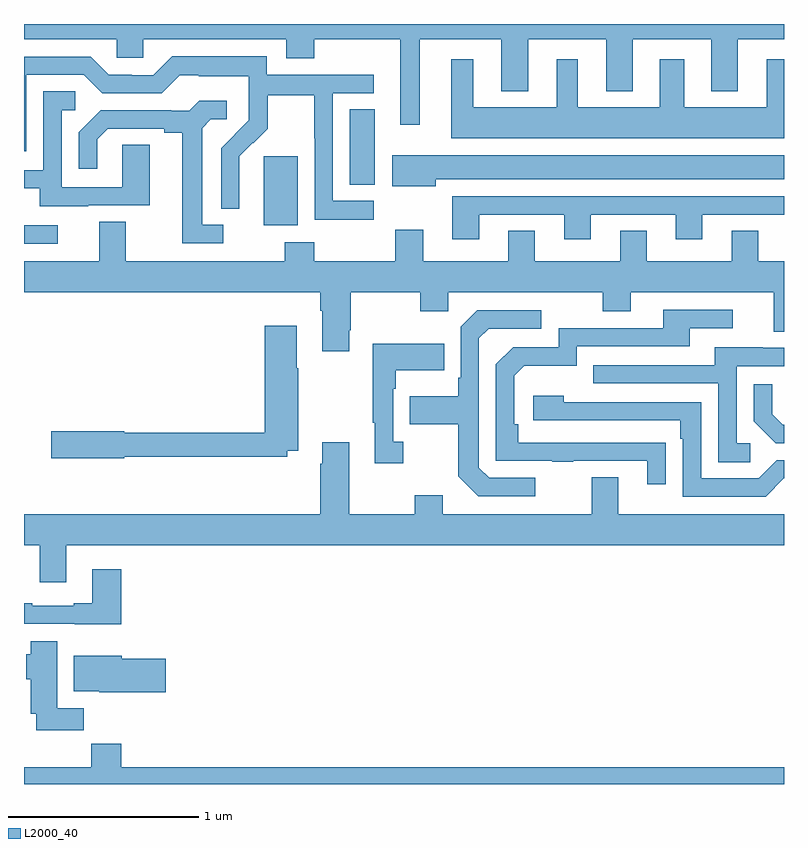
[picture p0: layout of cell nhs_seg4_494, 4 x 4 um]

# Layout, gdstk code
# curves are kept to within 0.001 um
import gdstk
lib = gdstk.Library(unit=1e-6, precision=1e-09)
def R(c, l, rs):  # rectangles x0, y0, x1, y1
    for r in rs: c.add(gdstk.rectangle(r[:2], r[2:], *l))
def P(c, l, *ps):  # polygons
    for p in ps: c.add(gdstk.Polygon(p, *l))
L2000_40 = (2000, 40)

nhs_seg4_494 = lib.new_cell('nhs_seg4_494')
R(nhs_seg4_494, L2000_40, [(135,795.744,135.178,795.84), (136.262,795.842,136.441,796.203), (136.715,796.054,136.846,796.451)])
P(nhs_seg4_494, L2000_40, [(137.083,796.82),(137.513,796.82),(137.513,796.547),(137.653,796.547),(137.653,796.82),(138.065,796.82),(138.065,796.547),(138.205,796.547),(138.205,796.82),(138.617,796.82),(138.617,796.547),(138.757,796.547),(138.757,796.82),(139,796.82),(139,796.9),(135,796.9),(135,796.82),(135.489,796.82),(135.489,796.722),(135.627,796.722),(135.627,796.82),(136.379,796.82),(136.379,796.721),(136.527,796.721),(136.527,796.82),(136.979,796.82),(136.979,796.371),(137.083,796.371)],
  [(136.84,795.969),(136.626,795.969),(136.626,796.536),(136.84,796.536),(136.84,796.632),(136.278,796.632),(136.278,796.729),(135.781,796.729),(135.681,796.629),(135.566,796.629),(135.566,796.632),(135.447,796.632),(135.351,796.728),(135,796.728),(135,796.23),(135.012,796.23),(135.012,796.632),(135.315,796.632),(135.411,796.536),(135.726,796.536),(135.819,796.629),(135.919,796.629),(135.919,796.625),(136.182,796.625),(136.182,796.491),(136.184,796.491),(136.184,796.394),(136.038,796.246),(136.038,795.928),(136.134,795.928),(136.133,796.205),(136.203,796.275),(136.206,796.272),(136.283,796.349),(136.283,796.524),(136.528,796.524),(136.528,796.3),(136.53,796.3),(136.53,795.871),(136.84,795.871)],
  [(139,796.714),(138.908,796.714),(138.908,796.462),(138.475,796.462),(138.475,796.714),(138.347,796.714),(138.347,796.462),(137.914,796.462),(137.914,796.714),(137.804,796.714),(137.804,796.462),(137.365,796.462),(137.365,796.714),(137.249,796.714),(137.249,796.298),(139,796.298)],
  [(135.337,795.945),(135.661,795.945),(135.661,796.265),(135.516,796.265),(135.516,796.041),(135.198,796.041),(135.198,796.446),(135.271,796.446),(135.271,796.547),(135.102,796.547),(135.102,796.131),(135,796.131),(135,796.035),(135.083,796.035),(135.083,795.941),(135.337,795.941)],
  [(136.048,795.843),(135.937,795.843),(135.937,796.351),(135.984,796.398),(136.066,796.398),(136.066,796.495),(135.922,796.495),(135.87,796.443),(135.776,796.443),(135.776,796.446),(135.404,796.446),(135.288,796.33),(135.288,796.137),(135.385,796.137),(135.385,796.293),(135.442,796.35),(135.737,796.35),(135.737,796.328),(135.833,796.328),(135.833,795.747),(136.048,795.747)],
  [(137.167,796.082),(139,796.082),(139,796.21),(136.938,796.21),(136.938,796.046),(137.167,796.046)],
  [(137.395,795.897),(137.843,795.897),(137.843,795.768),(137.983,795.768),(137.983,795.897),(138.431,795.897),(138.431,795.768),(138.571,795.768),(138.571,795.897),(139,795.897),(139,795.993),(137.255,795.993),(137.255,795.768),(137.395,795.768)],
  [(136.711,795.289),(136.719,795.289),(136.719,795.488),(137.086,795.488),(137.086,795.389),(137.232,795.389),(137.232,795.488),(138.046,795.488),(138.046,795.389),(138.193,795.389),(138.193,795.488),(138.947,795.488),(138.947,795.28),(139,795.28),(139,795.652),(138.865,795.652),(138.865,795.812),(138.725,795.812),(138.725,795.652),(138.277,795.652),(138.277,795.812),(138.137,795.812),(138.137,795.652),(137.689,795.652),(137.689,795.812),(137.549,795.812),(137.549,795.652),(137.101,795.652),(137.101,795.817),(136.954,795.817),(136.954,795.652),(136.527,795.652),(136.527,795.751),(136.372,795.751),(136.372,795.652),(135.535,795.652),(135.535,795.86),(135.395,795.86),(135.395,795.652),(135,795.652),(135,795.488),(136.559,795.488),(136.559,795.392),(136.571,795.392),(136.571,795.177),(136.711,795.177)],
  [(138.377,794.696),(137.6,794.697),(137.6,794.794),(137.58,794.794),(137.58,795.048),(137.633,795.101),(137.91,795.101),(137.91,795.204),(138.505,795.204),(138.505,795.3),(138.73,795.3),(138.73,795.396),(138.365,795.396),(138.365,795.3),(137.814,795.3),(137.814,795.198),(137.574,795.198),(137.484,795.108),(137.484,794.601),(137.779,794.601),(137.779,794.596),(137.891,794.596),(137.891,794.601),(138.281,794.601),(138.281,794.478),(138.377,794.478)],
  [(137.692,794.511),(137.448,794.511),(137.394,794.565),(137.394,795.246),(137.445,795.297),(137.722,795.297),(137.722,795.393),(137.385,795.393),(137.298,795.306),(137.298,795.037),(137.286,795.037),(137.286,794.941),(137.029,794.941),(137.029,794.794),(137.286,794.794),(137.286,794.521),(137.391,794.415),(137.692,794.415)],
  [(135.528,794.622),(136.386,794.622),(136.386,794.654),(136.443,794.654),(136.443,795.089),(136.435,795.089),(136.435,795.313),(136.268,795.313),(136.268,794.75),(135.528,794.75),(135.528,794.756),(135.144,794.756),(135.144,794.614),(135.528,794.614)],
  [(136.996,794.702),(136.944,794.702),(136.944,794.981),(136.957,794.981),(136.957,795.077),(137.213,795.077),(137.213,795.217),(136.836,795.217),(136.836,794.801),(136.847,794.801),(136.847,794.589),(136.996,794.589)],
  [(138.823,794.694),(138.75,794.694),(138.75,795.099),(139,795.099),(139,795.195),(138.889,795.195),(138.889,795.199),(138.635,795.199),(138.635,795.105),(137.995,795.105),(137.995,795.009),(138.654,795.009),(138.654,794.593),(138.823,794.593)],
  [(139,794.79),(138.994,794.79),(138.937,794.847),(138.937,795.004),(138.84,795.004),(138.84,794.81),(138.956,794.694),(139,794.694)],
  [(138.999,794.508),(139,794.604),(138.963,794.604),(138.867,794.508),(138.564,794.508),(138.564,794.91),(137.84,794.91),(137.84,794.944),(137.679,794.944),(137.679,794.814),(138.455,794.814),(138.455,794.717),(138.468,794.717),(138.468,794.412),(138.903,794.412)],
  [(135.223,794.156),(139,794.156),(139,794.32),(138.127,794.32),(138.127,794.515),(137.987,794.515),(137.987,794.32),(137.203,794.32),(137.203,794.419),(137.056,794.419),(137.056,794.32),(136.711,794.32),(136.711,794.698),(136.571,794.698),(136.571,794.585),(136.559,794.585),(136.559,794.32),(135,794.32),(135,794.156),(135.083,794.156),(135.083,793.962),(135.223,793.962)],
  [(135.512,794.029),(135.359,794.029),(135.359,793.852),(135.263,793.852),(135.263,793.839),(135.043,793.839),(135.043,793.852),(135,793.852),(135,793.743),(135.267,793.743),(135.267,793.742),(135.512,793.742)],
  [(135.314,793.3),(135.175,793.3),(135.175,793.651),(135.035,793.651),(135.035,793.584),(135.011,793.584),(135.011,793.452),(135.035,793.452),(135.035,793.271),(135.065,793.271),(135.065,793.182),(135.314,793.182)],
  [(135.745,793.559),(135.514,793.559),(135.514,793.576),(135.263,793.576),(135.263,793.388),(135.396,793.388),(135.396,793.382),(135.745,793.382)],
  [(135.512,793.112),(135.355,793.112),(135.355,792.988),(135,792.988),(135,792.9),(139,792.9),(139,792.988),(135.512,792.988)])

lib.write_gds('nhs_seg4_494.gds')
